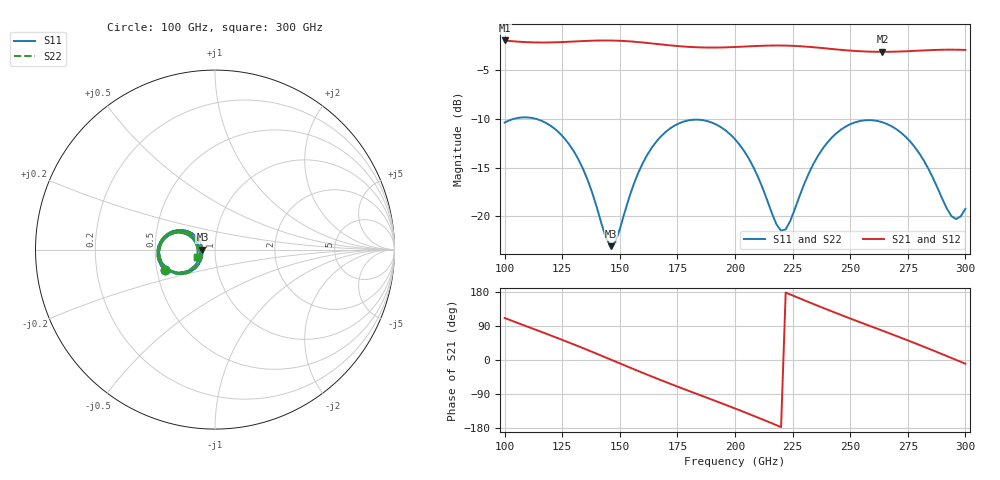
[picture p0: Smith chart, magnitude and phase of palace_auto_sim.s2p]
#  GHZ S DB R 50
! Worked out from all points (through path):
!   101 points, 100 GHz to 300 GHz, reference 50 ohm
!   highest |S21| = -1.96 dB at 100 GHz (marker M1); lowest = -3.1 dB at 264 GHz (marker M2)
!   group delay of S21, straight-line fit = 6.69 ps
!   lowest |S11| = -23.1 dB at 146 GHz (marker M3), VSWR 1.15, Z = 43.4 - j0.0723 ohm
!   |S11| at or under -10 dB: start of sweep to 104 GHz; 113.5 GHz to end of sweep
!   |S22| runs from -23.0 to -9.8 dB; largest |S21 - S12| = 1.4e-13
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100  -10.39 -157.5  -1.96 110.9  -1.96 110.9  -10.38 -157.4
108  -9.85 -172.7  -2.12 92.4  -2.12 92.4  -9.85 -172.6
118  -10.42 168.8  -2.17 69.4  -2.17 69.4  -10.42 168.9
126  -12.01 155.2  -2.12 50.7  -2.12 50.7  -12.01 155.3
134  -15.12 145.4  -2.03 31.4  -2.03 31.4  -15.11 145.5
146  -23.06 -179.3  -1.97 1.3  -1.97 1.3  -23.02 -179.2
148  -22.66 -162.0  -1.98 -3.8  -1.98 -3.8  -22.63 -162.0
156  -16.74 -136.4  -2.09 -24.0  -2.09 -24.0  -16.73 -136.5
168  -11.77 -149.1  -2.37 -53.5  -2.37 -53.5  -11.76 -149.0
184  -10.09 -176.5  -2.67 -90.8  -2.67 -90.8  -10.08 -176.4
200  -12.09 157.5  -2.63 -127.9  -2.63 -127.9  -12.08 157.7
210  -15.97 148.9  -2.52 -152.1  -2.52 -152.1  -15.94 149.2
220  -21.48 179.5  -2.48 -177.1  -2.48 -177.1  -21.41 179.6
224  -20.47 -155.5  -2.51 172.8  -2.51 172.8  -20.42 -155.7
234  -14.64 -141.5  -2.66 147.8  -2.66 147.8  -14.63 -141.7
248  -10.80 -159.3  -2.97 114.2  -2.97 114.2  -10.80 -159.3
264  -10.35 174.8  -3.13 77.3  -3.13 77.3  -10.35 174.8
268  -10.76 168.6  -3.12 68.1  -3.12 68.1  -10.76 168.6
278  -12.89 155.4  -3.03 44.6  -3.03 44.6  -12.90 155.3
286  -16.10 152.1  -2.94 25.1  -2.94 25.1  -16.13 152.0
294  -19.99 172.5  -2.91 5.2  -2.91 5.2  -20.06 172.5
300  -19.23 -157.8  -2.94 -9.8  -2.94 -9.8  -19.29 -157.4
